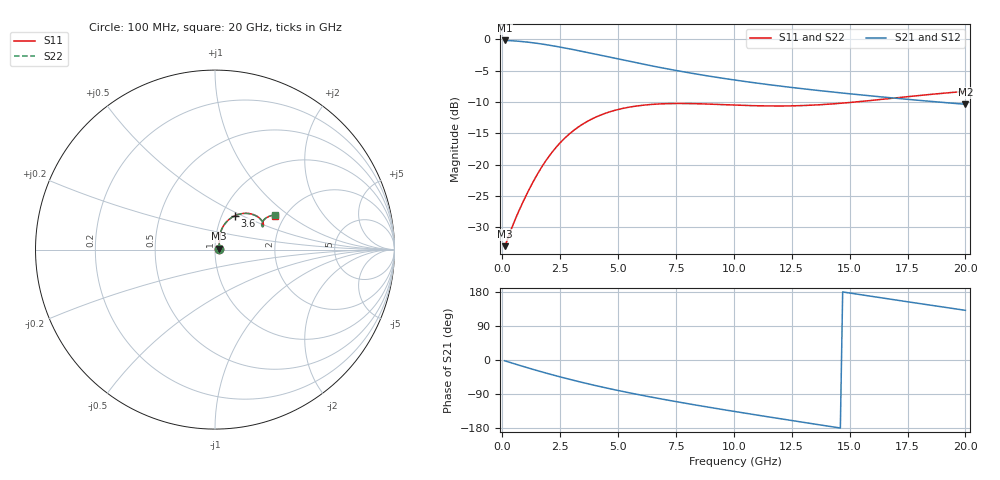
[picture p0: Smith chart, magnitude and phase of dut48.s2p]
! Touchstone file exported from HFSS 2024.1.0
!  File:  C:/UserFiles/LocalFiles/RDL_TSV_Batchsim/temp_RDL_TSV_48_1779406046.aedt
!  Generated:  07:45:31 AM May 22, 2026
!  Design:  RDL_TSV
!  Project:  temp_RDL_TSV_48_1779406046
!  Setup:  Setup1
!  Solution:  Sweep
! Variables:
!  dtsv = 7.66um
!  hbump = 3um
!  htsv = 81.53um
!  ldown = 316.98um
!  lrdl = 574.94um
!  p = 40
!  p1 = 52.47um
!  rhole = 10um
!  subl = 3250.7um
!  t = 450um
!  tdown = 4.92um
!  trdl = 2.38um
!  viad = 10um
!  wdown = 21.06um
!  wrdl = 19.65um
!  xbump = 18um
# GHz S MA R 50.000000
! Terminal data exported
! Port[1] = TM1_1_T1
! Port[2] = TM1_4_T1
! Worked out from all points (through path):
!   200 points, 100 MHz to 20 GHz, reference 50 ohm
!   highest |S21| = -0.19 dB at 100 MHz (marker M1); lowest = -10.4 dB at 20 GHz (marker M2)
!   group delay of S21, straight-line fit = 30 ps
!   lowest |S11| = -33.0 dB at 100 MHz (marker M3), VSWR 1.05, Z = 52.2 + j0.568 ohm
!   |S11| at or under -10 dB: start of sweep to 15.3 GHz
!   |S22| runs from -33.0 to -8.3 dB; largest |S21 - S12| = 4.3e-14
!   S11 on the Smith chart (normalised r, x): 100 MHz: 1.04, +0.01; 3.6 GHz: 1.15, +0.45; 20 GHz: 1.77, +0.79
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0.1  0.02229 14.1  0.9781 -2.0  0.9781 -2.0  0.02229 14.1
! Gamma 0 0 0 0
! Port Impedance 50 0 50 0
0.5  0.03439 46.8  0.9704 -9.6  0.9704 -9.6  0.03439 46.8
0.9  0.05051 61.5  0.9569 -17.0  0.9569 -17.0  0.05051 61.4
1.3  0.07099 69.1  0.9387 -24.3  0.9387 -24.3  0.07096 69.0
1.7  0.09533 71.9  0.9168 -31.3  0.9168 -31.3  0.09526 71.8
2.1  0.122 71.6  0.8921 -38.1  0.8921 -38.1  0.1218 71.5
2.5  0.1492 69.5  0.8657 -44.6  0.8657 -44.6  0.149 69.4
3  0.182 65.5  0.8312 -52.4  0.8312 -52.4  0.1817 65.4
3.5  0.2117 60.9  0.7963 -59.9  0.7963 -59.9  0.2113 60.8
3.6  0.2171 59.9  0.7893 -61.4  0.7893 -61.4  0.2167 59.8
4.3  0.2504 53.3  0.7414 -71.2  0.7414 -71.2  0.2499 53.2
5.2  0.2804 45.5  0.6837 -83.0  0.6837 -83.0  0.2797 45.4
6  0.2964 39.6  0.6373 -92.8  0.6373 -92.8  0.2955 39.5
6.8  0.3046 34.8  0.5958 -102.0  0.5958 -102.0  0.3036 34.7
8.4  0.3057 28.3  0.5269 -119.3  0.5269 -119.3  0.3045 28.3
10.1  0.298 25.7  0.4707 -136.5  0.4707 -136.5  0.2966 25.7
11.7  0.2932 26.3  0.4296 -152.1  0.4296 -152.1  0.2919 26.4
13.4  0.2979 28.6  0.3945 -168.2  0.3945 -168.2  0.2967 28.8
15  0.3126 30.7  0.367 176.8  0.367 176.8  0.3116 30.9
16.7  0.3358 31.7  0.342 161.0  0.342 161.0  0.3352 31.9
18.4  0.3615 31.2  0.3204 145.5  0.3204 145.5  0.3611 31.4
20  0.3835 29.7  0.3026 131.1  0.3026 131.1  0.3834 29.9
